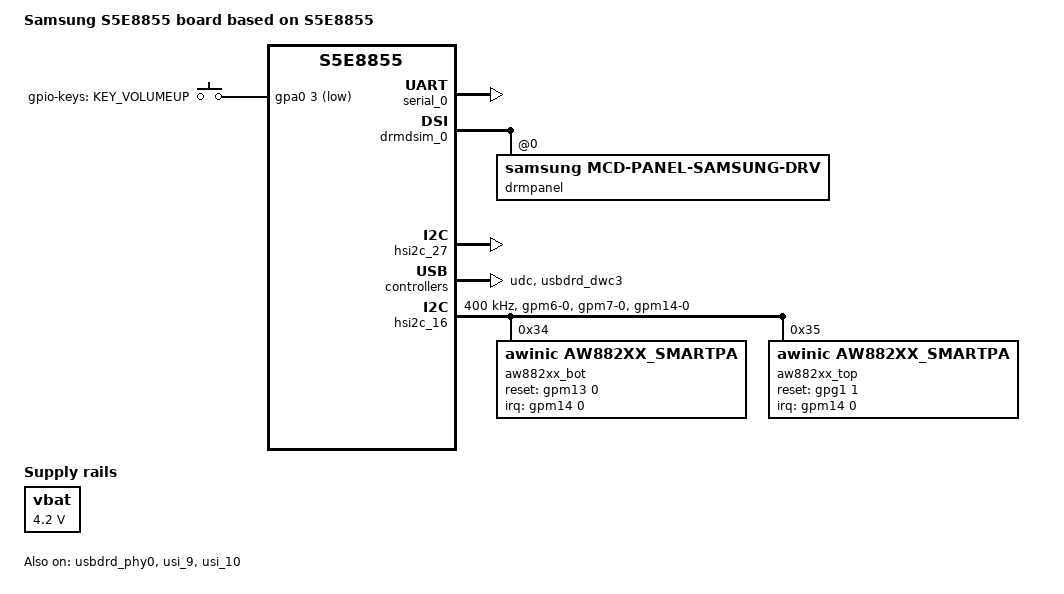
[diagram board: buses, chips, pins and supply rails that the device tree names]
/*
 * SAMSUNG S5E8855 SoC device tree source
 *
 * Copyright (c) 2023 Samsung Electronics Co., Ltd.
 *             http://www.samsung.com
 *
 * SAMSUNG S5E8855 SoC device nodes are listed in this file.
 * EXYNOS based board files can include this file and provide
 * values for board specfic bindings.
 *
 * This program is free software; you can redistribute it and/or modify
 * it under the terms of the GNU General Public License version 2 as
 * published by the Free Software Foundation.
 */

#include "../battery_data_mx8855_common_s2mf301.dtsi"
//#include "../s5e8855-audio-codec.dtsi"
#include "../s5e8855-cp-s5338-sipc.dtsi"
#include "../s5e8855-mx8855-gnss.dtsi"
#include "../s5e8855-sec_pm_common.dtsi"
#include "../exynos_gpio_config_macros.dtsi"

/ {
	compatible = "samsung,armv9", "samsung,s5e8855";

	fragment@model {
		target-path = "/";
		__overlay__ {
			#address-cells = <2>;
			#size-cells = <1>;

			model = "Samsung S5E8855 board based on S5E8855";
			gpio_keys {
				status = "okay";
				compatible = "gpio-keys";
				pinctrl-names = "default";
				pinctrl-0 = <&key_volup>;

				button@3 {
					label = "gpio-keys: KEY_VOLUMEUP";
					linux,code = <115>;
					gpios = <&gpa0 3 0xf>;
					debounce-interval = <0x0f>;
					gpio-key,wakeup;
				};
			};

			usb_hs_tune:hs_tune_phy {
				status = "disabled";
				hs_tune_cnt = <12>;
				/* value = <device host> */
				/* 0xffffffff means using default value */
				hs_tune1 {
					tune_name = "tx_fsls_slew_rate";
					tune_value = <0xffffffff 0xffffffff>;
				};

				hs_tune2 {
					tune_name = "tx_fsls_vref_tune";
					tune_value = <0xffffffff 0xffffffff>;
				};

				hs_tune3 {
					tune_name = "tx_fsls_vreg_bypass";
					tune_value = <0xffffffff 0xffffffff>;
				};

				hs_tune4 {
					tune_name = "tx_hs_vref_tune";
					tune_value = <0xffffffff 0xffffffff>;
				};

				hs_tune5 {
					tune_name = "tx_hs_xv";
					tune_value = <0xffffffff 0xffffffff>;
				};

				hs_tune6 {
					tune_name = "tx_preemp";
					tune_value = <0xffffffff 0xffffffff>;
				};

				hs_tune7 {
					tune_name = "tx_res";
					tune_value = <0xffffffff 0xffffffff>;
				};

				hs_tune8 {
					tune_name = "tx_rise";
					tune_value = <0xffffffff 0xffffffff>;
				};

				hs_tune9 {
					tune_name = "rx_eq_ctle";
					tune_value = <0xffffffff 0xffffffff>;
				};

				hs_tune10 {
					tune_name = "rx_hs_term_en";
					tune_value = <0xffffffff 0xffffffff>;
				};

				hs_tune11 {
					tune_name = "rx_hs_tune";
					tune_value = <0xffffffff 0xffffffff>;
				};

				hs_tune12 {
					tune_name = "reg_direct";
					tune_value = <0xffffffff 0xffffffff>;
				};
			};
			vbat: vbat {
				compatible = "regulator-fixed";
				regulator-name = "VBAT";
				regulator-min-microvolt = <4200000>;
				regulator-max-microvolt = <4200000>;
				regulator-boot-on;
			};

			dummy_audio_codec: audio-codec-dummy {
				compatible = "snd-soc-dummy";
				#sound-dai-cells = <0>;
			};

			dummy_audio_cpu: audio-cpu-dummy {
				compatible = "samsung,dummy-cpu";
				#sound-dai-cells = <0>;
			};

			abox_synchronized_ipc_aw: abox_synchronized_ipc_aw {
				compatible = "samsung,abox-synchronized-ipc-aw";
				#sound-dai-cells = <1>;
				abox = <&abox>;
				status = "okay";
			};

			sound {
				compatible = "samsung,exynos8855-audio";

				/* clock-names = "xclkout"; */
				/* clocks = <&clock OSC_AUD>; */

				/* Trick for probe order */
//				dmas = <&dp_dma0>;

				samsung,routing =
					"DMIC1", "MICBIAS1",
					"DMIC2", "MICBIAS2",
					"USB SPK", "ABOX USB Playback",
					"ABOX USB Capture", "USB MIC",
					"FWD SPK", "ABOX FWD Playback",
					"ABOX FWD Capture", "FWD MIC",
					"BLUETOOTH SPK", "ABOX UAIF3 Playback",
					"ABOX UAIF3 Capture", "BLUETOOTH MIC",
					"VTS Virtual Output", "VTS Virtual Output Mux",
					"PAD DPDM", "DMIC1",
					"PAD DPDM", "DMIC2";

				samsung,aux = <&abox_effect &abox_tplg>;

				rdma0 {
					cpu {
						sound-dai = <&abox_rdma_0 0>;
					};
					platform {
						sound-dai = <&abox_rdma_0 0>;
					};
				};
				rdma1 {
					cpu {
						sound-dai = <&abox_rdma_1 0>;
					};
					platform {
						sound-dai = <&abox_rdma_1 0>;
					};
				};
				rdma2 {
					cpu {
						sound-dai = <&abox_rdma_2 0>;
					};
					platform {
						sound-dai = <&abox_rdma_2 0>;
					};
				};
				rdma3 {
					cpu {
						sound-dai = <&abox_rdma_3 0>;
					};
					platform {
						sound-dai = <&abox_rdma_3 0>;
					};
				};
				rdma4 {
					cpu {
						sound-dai = <&abox_rdma_4 0>;
					};
					platform {
						sound-dai = <&abox_rdma_4 0>;
					};
				};
				rdma5 {
					cpu {
						sound-dai = <&abox_rdma_5 0>;
					};
					platform {
						sound-dai = <&abox_rdma_5 0>;
					};
				};
				rdma6 {
					cpu {
						sound-dai = <&abox_rdma_6 0>;
					};
					platform {
						sound-dai = <&abox_rdma_6 0>;
					};
				};
				rdma7 {
					cpu {
						sound-dai = <&abox_rdma_7 0>;
					};
					platform {
						sound-dai = <&abox_rdma_7 0>;
					};
				};
				rdma8 {
					cpu {
						sound-dai = <&abox_rdma_8 0>;
					};
					platform {
						sound-dai = <&abox_rdma_8 0>;
					};
				};
				rdma9 {
					cpu {
						sound-dai = <&abox_rdma_9 0>;
					};
					platform {
						sound-dai = <&abox_rdma_9 0>;
					};
				};
				rdma10 {
					cpu {
						sound-dai = <&abox_rdma_10 0>;
					};
					platform {
						sound-dai = <&abox_rdma_10 0>;
					};
				};
				rdma11 {
					cpu {
						sound-dai = <&abox_rdma_11 0>;
					};
					platform {
						sound-dai = <&abox_rdma_11 0>;
					};
				};
				rdma12 {
					cpu {
						sound-dai = <&abox_rdma_12 0>;
					};
					platform {
						sound-dai = <&abox_rdma_12 0>;
					};
				};
				rdma13 {
					cpu {
						sound-dai = <&abox_rdma_13 0>;
					};
					platform {
						sound-dai = <&abox_rdma_13 0>;
					};
				};
				rdma14 {
					cpu {
						sound-dai = <&abox_rdma_14 0>;
					};
					platform {
						sound-dai = <&abox_rdma_14 0>;
					};
				};
				rdma15 {
					cpu {
						sound-dai = <&abox_rdma_15 0>;
					};
					platform {
						sound-dai = <&abox_rdma_15 0>;
					};
				};
				wdma0 {
					cpu {
						sound-dai = <&abox_wdma_0 0>;
					};
					platform {
						sound-dai = <&abox_wdma_0 0>;
					};
				};
				wdma1 {
					cpu {
						sound-dai = <&abox_wdma_1 0>;
					};
					platform {
						sound-dai = <&abox_wdma_1 0>;
					};
				};
				wdma2 {
					cpu {
						sound-dai = <&abox_wdma_2 0>;
					};
					platform {
						sound-dai = <&abox_wdma_2 0>;
					};
				};
				wdma3 {
					cpu {
						sound-dai = <&abox_wdma_3 0>;
					};
					platform {
						sound-dai = <&abox_wdma_3 0>;
					};
				};
				wdma4 {
					cpu {
						sound-dai = <&abox_wdma_4 0>;
					};
					platform {
						sound-dai = <&abox_wdma_4 0>;
					};
				};
				wdma5 {
					cpu {
						sound-dai = <&abox_wdma_5 0>;
					};
					platform {
						sound-dai = <&abox_wdma_5 0>;
					};
				};
				wdma6 {
					cpu {
						sound-dai = <&abox_wdma_6 0>;
					};
					platform {
						sound-dai = <&abox_wdma_6 0>;
					};
				};
				wdma7 {
					cpu {
						sound-dai = <&abox_wdma_7 0>;
					};
					platform {
						sound-dai = <&abox_wdma_7 0>;
					};
				};
				wdma8 {
					cpu {
						sound-dai = <&abox_wdma_8 0>;
					};
					platform {
						sound-dai = <&abox_wdma_8 0>;
					};
				};
				wdma9 {
					cpu {
						sound-dai = <&abox_wdma_9 0>;
					};
					platform {
						sound-dai = <&abox_wdma_9 0>;
					};
				};
				wdma10 {
					cpu {
						sound-dai = <&abox_wdma_10 0>;
					};
					platform {
						sound-dai = <&abox_wdma_10 0>;
					};
				};
				wdma11 {
					cpu {
						sound-dai = <&abox_wdma_11 0>;
					};
					platform {
						sound-dai = <&abox_wdma_11 0>;
					};
				};
				wdma12 {
					cpu {
						sound-dai = <&abox_wdma_12 0>;
					};
					platform {
						sound-dai = <&abox_wdma_12 0>;
					};
				};
				wdma13 {
					cpu {
						sound-dai = <&abox_wdma_13 0>;
					};
					platform {
						sound-dai = <&abox_wdma_13 0>;
					};
				};
				wdma14 {
					cpu {
						sound-dai = <&abox_wdma_14 0>;
					};
					platform {
						sound-dai = <&abox_wdma_14 0>;
					};
				};
				wdma15 {
					cpu {
						sound-dai = <&abox_wdma_15 0>;
					};
					platform {
						sound-dai = <&abox_wdma_15 0>;
					};
				};

				vts0 {
					cpu {
						sound-dai = <&vts 0>;
					};
					platform {
						sound-dai = <&vts_dma0>;
					};
				};
				vts1 {
					cpu {
						sound-dai = <&vts 1>;
					};
					platform {
						sound-dai = <&vts_dma1>;
					};
				};
				vts2 {
					cpu {
						sound-dai = <&vts 2>;
					};
					platform {
						sound-dai = <&vts_dma2>;
					};
				};
/*
				dp0_audio {
					cpu {
						sound-dai = <&displayport_adma 0>;
					};
					platform {
						sound-dai = <&dp_dma0>;
					};
				};
*/
				ddma0 {
					cpu {
						sound-dai = <&abox_ddma_0>;
					};
					platform {
						sound-dai = <&abox_ddma_0>;
					};
				};
				ddma1 {
					cpu {
						sound-dai = <&abox_ddma_1>;
					};
					platform {
						sound-dai = <&abox_ddma_1>;
					};
				};
				ddma2 {
					cpu {
						sound-dai = <&abox_ddma_2>;
					};
					platform {
						sound-dai = <&abox_ddma_2>;
					};
				};
				ddma3 {
					cpu {
						sound-dai = <&abox_ddma_3>;
					};
					platform {
						sound-dai = <&abox_ddma_3>;
					};
				};
				ddma4 {
					cpu {
						sound-dai = <&abox_ddma_4>;
					};
					platform {
						sound-dai = <&abox_ddma_4>;
					};
				};
				ddma5 {
					cpu {
						sound-dai = <&abox_ddma_5>;
					};
					platform {
						sound-dai = <&abox_ddma_5>;
					};
				};
				uaif0 {
					format = "i2s";
					cpu {
						sound-dai = <&abox_uaif_0>;
					};
				};
				uaif1 {
					format = "i2s";
					cpu {
						sound-dai = <&abox_uaif_1>;
					};
					codec {
						sound-dai = <&aw882xx_top &aw882xx_bot>;
					};
				};
				uaif2 {
					format = "i2s";
					cpu {
						sound-dai = <&abox_uaif_2>;
					};
				};
				uaif3 {
					format = "i2s";
					cpu {
						sound-dai = <&abox_uaif_3>;
					};

				};
				uaif4 {
					format = "dsp_a";
					cpu {
						sound-dai = <&abox_uaif_4>;
					};
				};
				uaif5 {
					format = "dsp_a";
					cpu {
						sound-dai = <&abox_uaif_5>;
					};
				};
				uaif6 {
					format = "dsp_a";
					bitclock-master;
					bitclock-inversion;
					frame-master;

					cpu {
						sound-dai = <&abox_uaif_6>;
					};
					codec {
						sound-dai = <&vts_s_lif 0>;
					};
				};
				dsif0 {
					format = "pdm";
					cpu {
						sound-dai = <&abox_dsif>;
					};
				};
				udma_rd0 {
					cpu {
						sound-dai = <&abox_udma_rd_0>;
					};
				};
				udma_wr0 {
					cpu {
						sound-dai = <&abox_udma_wr_0>;
					};
				};
				udma_wr_dual0 {
					cpu {
						sound-dai = <&abox_udma_wr_dual_0>;
					};
				};
				udma_wr_dbg0 {
					cpu {
						sound-dai = <&abox_udma_wr_debug_0>;
					};
				};
				rdma0_be {
					cpu {
						sound-dai = <&abox_rdma_0 1>;
					};
					platform {
						sound-dai = <&abox_rdma_0 1>;
					};
				};
				rdma1_be {
					cpu {
						sound-dai = <&abox_rdma_1 1>;
					};
					platform {
						sound-dai = <&abox_rdma_1 1>;
					};
				};
				rdma2_be {
					cpu {
						sound-dai = <&abox_rdma_2 1>;
					};
					platform {
						sound-dai = <&abox_rdma_2 1>;
					};
				};
				rdma3_be {
					cpu {
						sound-dai = <&abox_rdma_3 1>;
					};
					platform {
						sound-dai = <&abox_rdma_3 1>;
					};
				};
				rdma4_be {
					cpu {
						sound-dai = <&abox_rdma_4 1>;
					};
					platform {
						sound-dai = <&abox_rdma_4 1>;
					};
				};
				rdma5_be {
					cpu {
						sound-dai = <&abox_rdma_5 1>;
					};
					platform {
						sound-dai = <&abox_rdma_5 1>;
					};
				};
				rdma6_be {
					cpu {
						sound-dai = <&abox_rdma_6 1>;
					};
					platform {
						sound-dai = <&abox_rdma_6 1>;
					};
				};
				rdma7_be {
					cpu {
						sound-dai = <&abox_rdma_7 1>;
					};
					platform {
						sound-dai = <&abox_rdma_7 1>;
					};
				};
				rdma8_be {
					cpu {
						sound-dai = <&abox_rdma_8 1>;
					};
					platform {
						sound-dai = <&abox_rdma_8 1>;
					};
				};
				rdma9_be {
					cpu {
						sound-dai = <&abox_rdma_9 1>;
					};
					platform {
						sound-dai = <&abox_rdma_9 1>;
					};
				};
				rdma10_be {
					cpu {
						sound-dai = <&abox_rdma_10 1>;
					};
					platform {
						sound-dai = <&abox_rdma_10 1>;
					};
				};
				rdma11_be {
					cpu {
						sound-dai = <&abox_rdma_11 1>;
					};
					platform {
						sound-dai = <&abox_rdma_11 1>;
					};
				};
				rdma12_be {
					cpu {
						sound-dai = <&abox_rdma_12 1>;
					};
					platform {
						sound-dai = <&abox_rdma_12 1>;
					};
				};
				rdma13_be {
					cpu {
						sound-dai = <&abox_rdma_13 1>;
					};
					platform {
						sound-dai = <&abox_rdma_13 1>;
					};
				};
				rdma14_be {
					cpu {
						sound-dai = <&abox_rdma_14 1>;
					};
					platform {
						sound-dai = <&abox_rdma_14 1>;
					};
				};
				rdma15_be {
					cpu {
						sound-dai = <&abox_rdma_15 1>;
					};
					platform {
						sound-dai = <&abox_rdma_15 1>;
					};
				};
				wdma0_be {
					cpu {
						sound-dai = <&abox_wdma_0 1>;
					};
					platform {
						sound-dai = <&abox_wdma_0 1>;
					};
				};
				wdma1_be {
					cpu {
						sound-dai = <&abox_wdma_1 1>;
					};
					platform {
						sound-dai = <&abox_wdma_1 1>;
					};
				};
				wdma2_be {
					cpu {
						sound-dai = <&abox_wdma_2 1>;
					};
					platform {
						sound-dai = <&abox_wdma_2 1>;
					};
				};
				wdma3_be {
					cpu {
						sound-dai = <&abox_wdma_3 1>;
					};
					platform {
						sound-dai = <&abox_wdma_3 1>;
					};
				};
				wdma4_be {
					cpu {
						sound-dai = <&abox_wdma_4 1>;
					};
					platform {
						sound-dai = <&abox_wdma_4 1>;
					};
				};
				wdma5_be {
					cpu {
						sound-dai = <&abox_wdma_5 1>;
					};
					platform {
						sound-dai = <&abox_wdma_5 1>;
					};
				};
				wdma6_be {
					cpu {
						sound-dai = <&abox_wdma_6 1>;
					};
					platform {
						sound-dai = <&abox_wdma_6 1>;
					};
				};
				wdma7_be {
					cpu {
						sound-dai = <&abox_wdma_7 1>;
					};
					platform {
						sound-dai = <&abox_wdma_7 1>;
					};
				};
				wdma8_be {
					cpu {
						sound-dai = <&abox_wdma_8 1>;
					};
					platform {
						sound-dai = <&abox_wdma_8 1>;
					};
				};
				wdma9_be {
					cpu {
						sound-dai = <&abox_wdma_9 1>;
					};
					platform {
						sound-dai = <&abox_wdma_9 1>;
					};
				};
				wdma10_be {
					cpu {
						sound-dai = <&abox_wdma_10 1>;
					};
					platform {
						sound-dai = <&abox_wdma_10 1>;
					};
				};
				wdma11_be {
					cpu {
						sound-dai = <&abox_wdma_11 1>;
					};
					platform {
						sound-dai = <&abox_wdma_11 1>;
					};
				};
				wdma12_be {
					cpu {
						sound-dai = <&abox_wdma_12 1>;
					};
					platform {
						sound-dai = <&abox_wdma_12 1>;
					};
				};
				wdma13_be {
					cpu {
						sound-dai = <&abox_wdma_13 1>;
					};
					platform {
						sound-dai = <&abox_wdma_13 1>;
					};
				};
				wdma14_be {
					cpu {
						sound-dai = <&abox_wdma_14 1>;
					};
					platform {
						sound-dai = <&abox_wdma_14 1>;
					};
				};
				wdma15_be {
					cpu {
						sound-dai = <&abox_wdma_15 1>;
					};
					platform {
						sound-dai = <&abox_wdma_15 1>;
					};
				};
				usb {
					cpu {
						sound-dai = <&abox 0>;
					};
				};
				fwd {
					cpu {
						sound-dai = <&abox 1>;
					};
				};
			}; /* end of sound */

			sec-audio-exynos {
				compatible = "samsung,audio-exynos";
				abox_dbg_size_min = <0x600000>;
				abox_slog_size_min = <0x0>;
				status = "okay";
			};

			sec-audio-sysfs {
				compatible = "samsung,audio-sysfs";
				status = "okay";
				audio,no-earjack;
				audio,num-amp = <2>;
			};

			sec-audio-debug {
				compatible = "samsung,audio-debug";
				status = "okay";
			};

			snd-debug-proc {
				compatible = "samsung,snd-debug-proc";
				status = "okay";
			};

			ufs-sec-driver {
				compatible = "samsung,ufs-sec-driver";
				status = "okay";
			};

			mmc-sec-driver {
				compatible = "samsung,mmc-sec-driver";
				status = "okay";
			};

			sec_repeater_cb {
				compatible = "samsung,repeater_cb";
				status = "okay";
			};
			sec_usb_cb {
				compatible = "samsung,sec_usb_cb";
				status = "okay";
			};

			sec_usb_hook {
				compatible = "samsung,sec_usb_hook";
				status = "okay";
			};
		};
	};
};

&chosen {
        bootargs_ext = "pm_debug_messages no_console_suspend workqueue.panic_on_stall=2";
};

&serial_0 {
	status = "okay";
#if defined(CONFIG_SEC_FACTORY)
	samsung,uart-logging;
#endif
};

&drmdsim_0 {
	#address-cells = <1>;
	#size-cells = <0>;
	dsi-burst-cmd = <1>;
	dsi-lp-tx-drive-imp-ctrl = <1>;
	drmpanel {
		   compatible = "samsung,mcd-panel-samsung-drv";
		   /* reset, power */
		   reg = <0>;
	};
};

&pinctrl_0 {
        key_volup: key-volup {
                samsung,pins = "gpa0-3";
                samsung,pin-function = <0xf>;
                samsung,pin-pud = <3>;
                samsung,pin-drv = <3>;
        };

	dc_irq: dc-irq {
		samsung,pins = "gpa1-4";
		samsung,pin-function = <0>;
		samsung,pin-pud = <0>;
		samsung,pin-drv = <0>;
	};
};

&hsi2c_27 {
	#address-cells = <1>;
	#size-cells = <0>;
	status = "okay";

};

&ufs {
	vcc-supply = <&l29_reg>;
	vccq-supply = <&l31_reg>;
};

&udc {
	status = "okay";
};

&usbdrd_dwc3 {
	status = "okay";
	maximum-speed = "high-speed";
//	usb_audio_offloading = <1>;
//	abox = <&abox>;
//	samsung,abox-gic = <&abox_gic>;
//	xhci_use_uram_for_audio = <1>;

	vdd12_usb-supply = <&l23_reg>;
	vdd18_usb-supply = <&l4_reg>;
	vdd33_usb-supply = <&l6_reg>;
};

&usbdrd_phy0 {
	status = "okay";
	hs_tune_param = <&usb_hs_tune>;

	low_power_call = <0>;

	vdd12_usb-supply = <&l23_reg>;
	vdd18_usb-supply = <&l4_reg>;
	vdd33_usb-supply = <&l6_reg>;
};

&pinctrl_3 {
	aw882xx_l_reset: aw882xx-l-reset {
		samsung,pins = "gpg1-1";
		samsung,pin-function = <1>;
		samsung,pin-val = <1>;
		samsung,pin-pud = <0>;
		samsung,pin-con-pdn = <3>;
		samsung,pin-pud-pdn = <0>;
	};

	dmic_en: dmic-en {
		samsung,pins ="gpg1-2";
		samsung,pin-function = <1>;
		samsung,pin-pud = <0>;
		samsung,pin-val = <1>;
		samsung,pin-con-pdn = <1>;
		samsung,pin-pud-pdn = <0>;
	};

	dmic_en_idle: dmic-en-idle {
		samsung,pins ="gpg1-2";
		samsung,pin-function = <1>;
		samsung,pin-pud = <0>;
		samsung,pin-val = <0>;
		samsung,pin-con-pdn = <1>;
		samsung,pin-pud-pdn = <0>;
	};

	aud_i2s0_bus:aud-i2s0-bus {
		samsung,pins = "gpb0-0", "gpb0-1", "gpb0-2", "gpb0-3";
		samsung,pin-function = <2>;
		samsung,pin-pud = <0>;
	};

	aud_i2s0_idle:aud-i2s0-idle {
		samsung,pins = "gpb0-0", "gpb0-1", "gpb0-2", "gpb0-3";
		samsung,pin-function = <0>;
		samsung,pin-pud = <1>;
	};

	aud_codec_mclk:aud-codec-mclk {
		samsung,pins = "gpb0-4";
		samsung,pin-function = <2>;
		samsung,pin-pud = <1>;
	};

	aud_codec_mclk_idle:aud-codec-mclk-idle {
		samsung,pins = "gpb0-4";
		samsung,pin-function = <0>;
		samsung,pin-pud = <1>;
	};

	aud_i2s1_bus:aud-i2s1-bus {
		samsung,pins = "gpb1-0", "gpb1-1", "gpb1-2", "gpb1-3";
		samsung,pin-function = <2>;
		samsung,pin-pud = <0>;
	};

	aud_i2s1_idle:aud-i2s1-idle {
		samsung,pins = "gpb1-0", "gpb1-1", "gpb1-2", "gpb1-3";
		samsung,pin-function = <0>;
		samsung,pin-pud = <1>;
	};

};

&vts {
	pinctrl-names = "dmic0_default",
		"dmic1_default",
		"dmic2_default",
		"amic0_default",
		"amic1_default",
		"amic2_default",
		"dmic0_idle",
		"dmic1_idle",
		"dmic2_idle",
		"default";
	pinctrl-0 = <&dmic_bus_clk0 &dmic_pdm0_bus &dmic_en>;
	pinctrl-1 = <&dmic_bus_clk2 &dmic_pdm2_bus &dmic_en>;
	pinctrl-2 = <&dmic_bus_clk2 &dmic_pdm2_bus>;
	pinctrl-3 = <&dmic_bus_clk0 &amic_pdm0_bus>;
	pinctrl-4 = <&dmic_bus_clk1 &amic_pdm1_bus>;
	pinctrl-5 = <&dmic_bus_clk2 &amic_pdm2_bus>;
	pinctrl-6 = <&dmic_bus_clk0_idle &dmic_pdm0_idle &dmic_en_idle>;
	pinctrl-7 = <&dmic_bus_clk2_idle &dmic_pdm2_idle &dmic_en_idle>;
	pinctrl-8 = <&dmic_bus_clk2_idle &dmic_pdm2_idle>;
	pinctrl-9 = <>;

};

&abox_uaif_1 {
	pinctrl-names = "active", "idle";
	pinctrl-0 = <&aud_i2s1_bus>;
	pinctrl-1 = <&aud_i2s1_idle>;
};

&pinctrl_1 {
	aw882xx_r_reset: aw882xx-r-reset {
		samsung,pins = "gpm13-0";
		samsung,pin-function = <1>;
		samsung,pin-val = <1>;
		samsung,pin-pud = <0>;
		samsung,pin-con-pdn = <3>;
		samsung,pin-pud-pdn = <0>;
	};

	aw882xx_amp_int: aw882xx-amp-int {
		samsung,pins = "gpm14-0";
		samsung,pin-function = <0xf>;
		samsung,pin-pud = <3>;
		samsung,pin-con-pdn = <3>;
		samsung,pin-pud-pdn = <3>;
	};

	hsi2c16_amp_bus: hsi2c16-amp-bus {
		samsung,pins = "gpm6-0", "gpm7-0";
		samsung,pin-function = <3>;
		samsung,pin-pud = <3>;
		samsung,pin-drv = <0>;
	};
};

&hsi2c_16 {
	#address-cells = <1>;
	#size-cells = <0>;
	status = "okay";
	clock-frequency = <400000>;
//	pinctrl-names = "default", "bus_io";
	pinctrl-0 = <&hsi2c16_amp_bus &aw882xx_amp_int>;
//	pinctrl-1 = <&hsi2c16_bus_io>; /* recover_gpio_pins */

	aw882xx_bot: aw882xx_smartpa@34 {
		compatible = "awinic,aw882xx_smartpa";
		#sound-dai-cells = <0>;
		reg = <0x34>;
		chip-id = <0x2308>;
		pinctrl-names = "default";
		pinctrl-0 = <&aw882xx_r_reset>;

		num-amp = <2>;
		reset-gpio = <&gpm13 0 0>;
		irq-gpio = <&gpm14 0 0>;
		rename-flag = <1>;
		sound-channel = <1>;
		sync-load = <1>;
		sync-flag = <0>;
		aw-cali-mode = "aw_cali_all";
		status = "okay";
	};

	aw882xx_top: aw882xx_smartpa@35 {
		compatible = "awinic,aw882xx_smartpa";
		#sound-dai-cells = <0>;
		reg = <0x35>;
		chip-id = <0x2308>;
		pinctrl-names = "default";
		pinctrl-0 = <&aw882xx_l_reset>;

		num-amp = <2>;
		reset-gpio = <&gpg1 1 0>;
		irq-gpio = <&gpm14 0 0>;
		rename-flag = <1>;
		sound-channel = <0>;
		sync-load = <1>;
		sync-flag = <0>;
		aw-cali-mode = "aw_cali_all";
		status = "okay";
	};
};

/* DPU RCD */
&drmdpp12 {
        /* RCD BLOCK mode configurations, based on panel size*/
        rcd_block_mode_en = <1>;

        /* block mode start offset (x,y) */
        rcd_block_mode_x  = <0>;
        rcd_block_mode_y  = <128>;

        /* block mode width & height from offset (x,y) */
        rcd_block_mode_w  = <1080>;
        rcd_block_mode_h  = <2084>;
};


/* Camera ois setting */
&usi_9 {
	usi_v2_mode = "spi";
	status = "okay";
};

&usi_10 {
	usi_v2_mode = "i2c";
	status = "okay";
};

&dwmmc_2 {
	status = "disabled";
};

&pinctrl_1 {
	pinctrl-names = "default";
	pinctrl-0 = <&initial1>;
	initial1: initial-state {
		/* DC-DC IC SN628640AYCGR I2C */
		PIN_IN_SLP(gpm17-0, UP, INPUT, UP);	/* EB_VDDQ_SCL */
		PIN_IN_SLP(gpm18-0, UP, INPUT, UP);	/* EB_VDDQ_SDA */
	};
};

#if defined(CONFIG_ARM64_16K_PAGES)
&log_kevents_small {
	reg = <0x8 0xAD600000 0xA8000>;
};

&log_backtrace {
	size = <0x4000>;
};

&log_itmon_history {
	reg = <0x8 0xADB00000 0x4000>;
};

&wdtmsg {
	reg = <0x8 0xADB10000 0x4000>;
};

&log_arrdumprst {
	reg = <0 0xFEC10000 0x4A8000>;
};

&mfc_fw_rmem {
	size = <0x2000000>;
};

&icpu_fw_rmem {
	size = <0x2000000>;
};

&crypto {
	size = <0x2000000>;
};

&vstream {
	size = <0x8000000>;
};

&tui {
	size = <0x6000000>;
};
#endif
